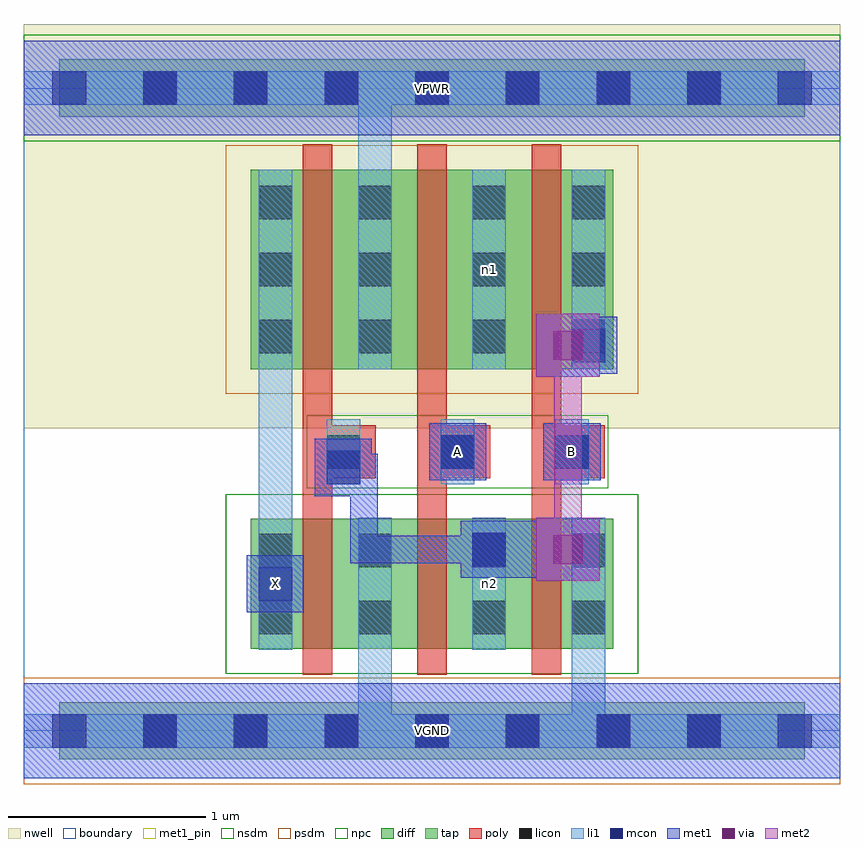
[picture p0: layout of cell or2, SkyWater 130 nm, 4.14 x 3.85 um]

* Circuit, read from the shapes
.subckt or2 A B VGND VPWR X n1 n2
XM1 VGND n2 X VGND sky130_fd_pr__nfet_01v8 w=0.66 l=0.15
XM2 n2 A VGND VGND sky130_fd_pr__nfet_01v8 w=0.66 l=0.15
XM3 VGND B n2 VGND sky130_fd_pr__nfet_01v8 w=0.66 l=0.15
XM4 VPWR n2 X VPWR sky130_fd_pr__pfet_01v8 w=1.01 l=0.15
XM5 n1 A VPWR VPWR sky130_fd_pr__pfet_01v8 w=1.01 l=0.15
XM6 n2 B n1 VPWR sky130_fd_pr__pfet_01v8 w=1.01 l=0.15
.ends

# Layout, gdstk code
import gdstk
lib = gdstk.Library(unit=1e-6, precision=1e-09)
def R(c, l, rs):  # rectangles x0, y0, x1, y1
    for r in rs: c.add(gdstk.rectangle(r[:2], r[2:], *l))
def A(c, l, x, y, w, h, nx, ny, dx, dy):  # array of equal rectangles
    R(c, l, [(x+i*dx, y+j*dy, x+i*dx+w, y+j*dy+h) for i in range(nx) for j in range(ny)])
nwell = (64, 20)
diff = (65, 20)
tap = (65, 44)
poly = (66, 20)
licon = (66, 44)
li1 = (67, 20)
mcon = (67, 44)
met1_pin = (68, 16)
met1 = (68, 20)
via = (68, 44)
met2 = (69, 20)
nsdm = (93, 44)
psdm = (94, 20)
npc = (95, 20)
boundary = (235, 4)

or2 = lib.new_cell('or2')
R(or2, nwell, [(0,1.535,4.14,3.585)])
R(or2, diff, [(1.15,0.415,2.99,1.075), (1.15,1.835,2.99,2.845)])
R(or2, tap, [(0.18,-0.145,3.96,0.145), (0.18,3.115,3.96,3.405)])
A(or2, poly, 1.415, 0.285, 0.15, 2.69, 3, 1, 0.58, 0)
A(or2, poly, 1.455, 1.28, 0.33, 0.27, 3, 1, 0.58, 0)
A(or2, licon, 0.605, -0.085, 0.17, 0.17, 7, 2, 0.46, 3.26)
A(or2, licon, 1.535, 1.33, 0.17, 0.17, 3, 1, 0.58, 0)
A(or2, licon, 1.19, 1.915, 0.17, 0.17, 1, 3, 0, 0.34)
A(or2, licon, 1.695, 1.915, 0.17, 0.17, 1, 3, 0, 0.34)
A(or2, licon, 2.275, 1.915, 0.17, 0.17, 1, 3, 0, 0.34)
A(or2, licon, 2.78, 1.915, 0.17, 0.17, 1, 3, 0, 0.34)
R(or2, licon, [(1.19,0.49,1.36,0.66), (1.695,0.49,1.865,0.66), (2.275,0.49,2.445,0.66), (2.78,0.49,2.95,0.66), (1.19,0.83,1.36,1), (1.695,0.83,1.865,1), (2.275,0.83,2.445,1), (2.78,0.83,2.95,1)])
A(or2, li1, 1.535, 1.25, 0.17, 0.33, 3, 1, 0.58, 0)
R(or2, li1, [(0,-0.085,4.14,0.085), (1.695,-0.085,1.865,1.08), (2.78,-0.085,2.95,1.08), (1.19,0.41,1.36,1.08), (1.19,0.41,1.36,2.845), (1.695,0.41,1.865,1.08), (2.275,0.41,2.445,1.08), (2.78,0.41,2.95,1.08), (1.19,1.835,1.36,2.845), (1.695,1.835,1.865,2.845), (1.695,1.835,1.865,3.345), (2.275,1.835,2.445,2.845), (2.78,1.835,2.95,2.845), (0,3.175,4.14,3.345)])
A(or2, mcon, 0.145, -0.085, 0.17, 0.17, 9, 2, 0.46, 3.26)
R(or2, mcon, [(1.19,0.66,1.36,0.83), (2.275,0.835,2.445,1.005), (1.535,1.25,1.705,1.42), (2.115,1.33,2.285,1.5), (2.695,1.33,2.865,1.5), (2.78,1.87,2.95,2.04)])
R(or2, met1_pin, [(0,-0.24,4.14,0.24), (1.13,0.6,1.42,0.89), (2.055,1.27,2.345,1.56), (2.635,1.27,2.925,1.56), (0,3.02,4.14,3.5)])
R(or2, met1, [(0,-0.24,4.14,0.24), (1.13,0.6,1.42,0.89), (2.6,0.76,2.92,1.08), (2.215,0.775,2.505,1.065), (2.505,0.775,2.6,1.065), (1.655,0.85,1.795,1.22), (1.655,0.85,2.255,0.99), (2.115,0.85,2.43,0.99), (2.115,0.85,2.83,0.99), (1.655,1.08,1.795,1.405), (1.475,1.19,1.765,1.48), (1.55,1.265,1.795,1.405), (2.055,1.27,2.345,1.56), (2.635,1.27,2.925,1.56), (2.6,1.795,2.92,2.115), (2.72,1.81,3.01,2.1), (2.69,1.885,2.935,2.025), (0,3.02,4.14,3.5)])
R(or2, via, [(2.685,0.845,2.835,0.995), (2.685,1.88,2.835,2.03)])
R(or2, met2, [(2.6,0.76,2.92,1.08), (2.69,0.85,2.83,2.025), (2.6,1.795,2.92,2.115)])
R(or2, nsdm, [(1.025,0.29,3.115,1.2), (0,2.99,4.14,3.53)])
R(or2, psdm, [(0,-0.27,4.14,0.27), (1.025,1.71,3.115,2.97)])
R(or2, npc, [(1.435,1.23,2.965,1.6)])
R(or2, boundary, [(0,0,4.14,3.26)])
or2.add(gdstk.Label('n2', (2.36,0.745), layer=67, texttype=5))
or2.add(gdstk.Label('n1', (2.36,2.34), layer=67, texttype=5))
or2.add(gdstk.Label('A', (2.2,1.415), layer=68, texttype=5))
or2.add(gdstk.Label('B', (2.78,1.415), layer=68, texttype=5))
or2.add(gdstk.Label('X', (1.275,0.745), layer=68, texttype=5))
or2.add(gdstk.Label('VPWR', (2.07,3.26), layer=68, texttype=5))
or2.add(gdstk.Label('VGND', (2.07,0), layer=68, texttype=5))
or2.add(gdstk.Label('A', (2.2,1.415), layer=68, texttype=16))
or2.add(gdstk.Label('B', (2.78,1.415), layer=68, texttype=16))
or2.add(gdstk.Label('X', (1.275,0.745), layer=68, texttype=16))
or2.add(gdstk.Label('VPWR', (2.07,3.26), layer=68, texttype=16))
or2.add(gdstk.Label('VGND', (2.07,0), layer=68, texttype=16))

lib.write_gds('or2.gds')
